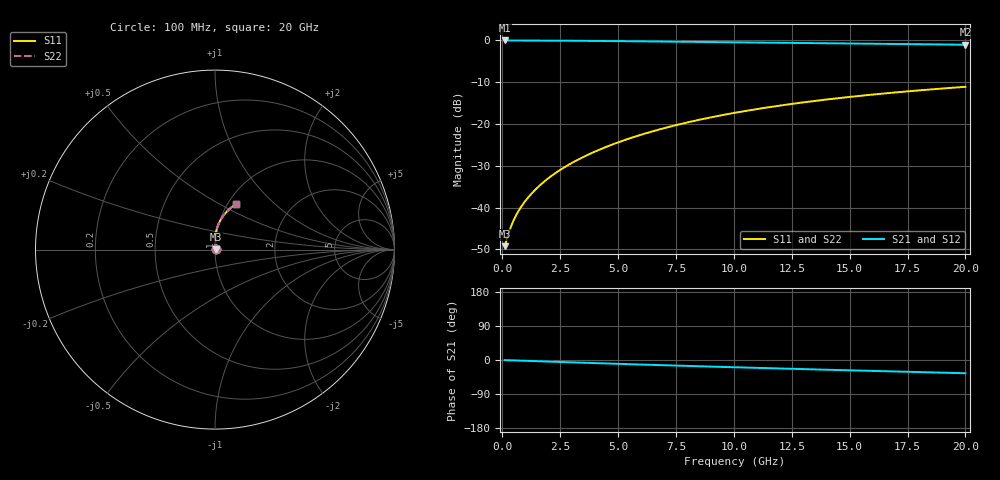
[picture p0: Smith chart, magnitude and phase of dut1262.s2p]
! Touchstone file exported from HFSS 2024.1.0
!  File:  C:/UserFiles/LocalFiles/RDL_TSV_Batchsim/temp_RDL_bottom_1262_1780245861.aedt
!  Generated:  12:47:09 AM Jun  1, 2026
!  Design:  RDL_bottom
!  Project:  temp_RDL_bottom_1262_1780245861
!  Setup:  Setup1
!  Solution:  Sweep
! Variables:
!  dtsv = 10.80580581um
!  hbump = 3um
!  htsv = 83.92um
!  ldown = 515.04um
!  lrdl = 100um
!  p = 40
!  p1 = 46.42um
!  rhole = 1um
!  t = 450um
!  tdown = 2.39um
!  trdl = 3.915915916um
!  wdown = 26.93um
!  wrdl = 20um
# GHz S MA R 50.000000
! Terminal data exported
! Port[1] = RDL1_T1
! Port[2] = RDL1_T2
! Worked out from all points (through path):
!   200 points, 100 MHz to 20 GHz, reference 50 ohm
!   highest |S21| = -0.03 dB at 100 MHz (marker M1); lowest = -1.0 dB at 20 GHz (marker M2)
!   group delay of S21, straight-line fit = 4.8 ps
!   lowest |S11| = -49.2 dB at 100 MHz (marker M3), VSWR 1.01, Z = 50.3 + j0.134 ohm
!   |S11| at or under -10 dB: start of sweep to end of sweep
!   |S22| runs from -49.2 to -11.1 dB; largest |S21 - S12| = 3.3e-15
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0.1  0.00345 22.7  0.9968 -0.2  0.9968 -0.2  0.00345 22.7
! Gamma 0 0 0 0
! Port Impedance 50 0 50 0
0.3  0.005162 47.8  0.9964 -0.7  0.9964 -0.7  0.005162 47.8
0.4  0.006149 53.9  0.9962 -0.9  0.9962 -0.9  0.006149 53.9
0.5  0.007134 58.3  0.996 -1.1  0.996 -1.1  0.007135 58.3
0.6  0.008111 61.6  0.9958 -1.3  0.9958 -1.3  0.008111 61.6
0.7  0.009084 64.4  0.9956 -1.5  0.9956 -1.5  0.009084 64.4
0.9  0.01104 68.8  0.9952 -1.9  0.9952 -1.9  0.01104 68.8
1.2  0.01404 73.6  0.9945 -2.5  0.9945 -2.5  0.01404 73.6
1.7  0.01926 78.8  0.9933 -3.6  0.9933 -3.6  0.01926 78.8
2.2  0.02476 82.1  0.9918 -4.6  0.9918 -4.6  0.02476 82.1
2.8  0.0317 84.8  0.9897 -5.8  0.9897 -5.8  0.0317 84.7
3.5  0.04025 86.6  0.9867 -7.2  0.9867 -7.2  0.04025 86.6
4.2  0.04928 87.7  0.9832 -8.6  0.9832 -8.6  0.04928 87.7
5  0.06013 88.2  0.9789 -10.2  0.9789 -10.2  0.06013 88.1
5.9  0.07291 88.1  0.9737 -11.9  0.9737 -11.9  0.07291 88.0
6.8  0.08617 87.4  0.9682 -13.5  0.9682 -13.5  0.08617 87.4
8.4  0.1105 85.6  0.9581 -16.4  0.9581 -16.4  0.1105 85.5
10.1  0.1368 82.9  0.9473 -19.3  0.9473 -19.3  0.1368 82.9
11.7  0.1614 80.1  0.9372 -21.9  0.9372 -21.9  0.1613 80.1
13.4  0.187 77.1  0.9266 -24.7  0.9266 -24.7  0.187 77.0
16.7  0.2344 71.1  0.9064 -29.9  0.9064 -29.9  0.2343 71.1
20  0.278 65.4  0.8866 -34.9  0.8866 -34.9  0.2779 65.3
